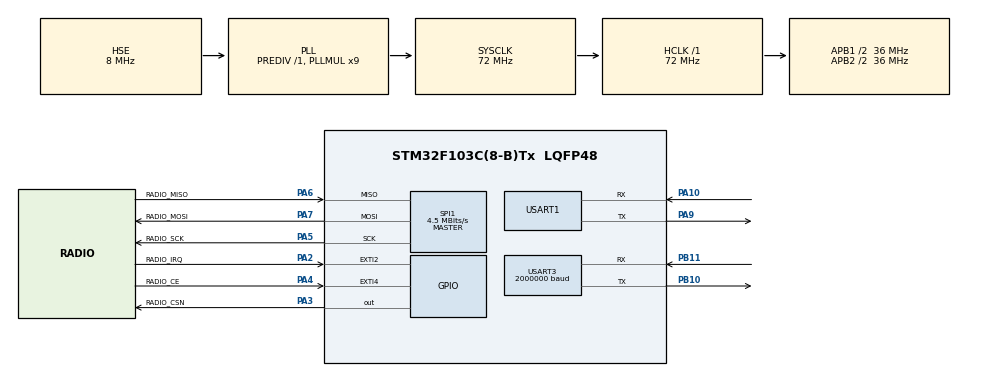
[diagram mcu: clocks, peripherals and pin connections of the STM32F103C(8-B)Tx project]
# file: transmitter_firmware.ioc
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Mcu.Family=STM32F1
Mcu.Name=STM32F103C(8-B)Tx
Mcu.Package=LQFP48
NVIC.PriorityGroup=NVIC_PRIORITYGROUP_4
PA10.Mode=Asynchronous
PA10.Signal=USART1_RX
PA2.GPIO_Label=RADIO_IRQ
PA2.Signal=GPXTI2
PA3.GPIO_Label=RADIO_CSN
PA3.Signal=GPIO_Output
PA4.GPIO_Label=RADIO_CE
PA4.Signal=GPXTI4
PA5.GPIO_Label=RADIO_SCK
PA5.Mode=Full_Duplex_Master
PA5.Signal=SPI1_SCK
PA6.GPIO_Label=RADIO_MISO
PA6.Mode=Full_Duplex_Master
PA6.Signal=SPI1_MISO
PA7.GPIO_Label=RADIO_MOSI
PA7.Mode=Full_Duplex_Master
PA7.Signal=SPI1_MOSI
PA9.Mode=Asynchronous
PA9.Signal=USART1_TX
PB10.Mode=Asynchronous
PB10.Signal=USART3_TX
PB11.Mode=Asynchronous
PB11.Signal=USART3_RX
PD0-OSC_IN.Mode=HSE-External-Oscillator
PD0-OSC_IN.Signal=RCC_OSC_IN
PD1-OSC_OUT.Mode=HSE-External-Oscillator
PD1-OSC_OUT.Signal=RCC_OSC_OUT
ProjectManager.HeapSize=0x200
ProjectManager.StackSize=0x400
ProjectManager.TargetToolchain=STM32CubeIDE
RCC.AHBFreq_Value=72000000
RCC.APB1CLKDivider=RCC_HCLK_DIV2
RCC.APB1Freq_Value=36000000
RCC.APB1TimFreq_Value=72000000
RCC.APB2CLKDivider=RCC_HCLK_DIV2
RCC.APB2Freq_Value=36000000
RCC.APB2TimFreq_Value=72000000
RCC.HCLKFreq_Value=72000000
RCC.PLLMUL=RCC_PLL_MUL9
RCC.PLLSourceVirtual=RCC_PLLSOURCE_HSE
RCC.SYSCLKFreq_VALUE=72000000
RCC.SYSCLKSource=RCC_SYSCLKSOURCE_PLLCLK
RCC.USBFreq_Value=48000000
RCC.USBPrescaler=RCC_USBCLKSOURCE_PLL_DIV1_5
SPI1.BaudRatePrescaler=SPI_BAUDRATEPRESCALER_8
SPI1.CalculateBaudRate=4.5 MBits/s
SPI1.Direction=SPI_DIRECTION_2LINES
SPI1.Mode=SPI_MODE_MASTER
SPI1.VirtualType=VM_MASTER
USART1.VirtualMode=VM_ASYNC
USART3.BaudRate=2000000
USART3.Parity=PARITY_NONE
USART3.StopBits=STOPBITS_1
USART3.VirtualMode=VM_ASYNC
USART3.WordLength=WORDLENGTH_8B
VP_SYS_VS_ND.Mode=No_Debug
board=custom

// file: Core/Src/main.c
/* USER CODE BEGIN Header */
/**
 ******************************************************************************
 * @file           : main.c
 * @brief          : Main program body
 ******************************************************************************
 * @attention
 *
 * Copyright (c) 2024 STMicroelectronics.
 * All rights reserved.
 *
 * This software is licensed under terms that can be found in the LICENSE file
 * in the root directory of this software component.
 * If no LICENSE file comes with this software, it is provided AS-IS.
 *
 ******************************************************************************
 */
/* USER CODE END Header */
#include "main.h"
#include "spi.h"
#include "usart.h"
#include "gpio.h"

/* USER CODE BEGIN Includes */
#include <stdlib.h>
#include <stdio.h>

//#include <string.h>

#include "rf24.h"
#include "linked_list.h"

/* USER CODE END Includes */

/* USER CODE BEGIN PD */
#define SERIAL_UART huart3

#define PAYLOAD_SIZE 14

/* USER CODE END PD */

void SystemClock_Config(void);
/* USER CODE BEGIN PFP */
int __io_putchar(int ch);

/* USER CODE END PFP */

/* USER CODE BEGIN 0 */

uint8_t robot_address[5] = { 0xB9, 0xB7, 0xE7, 0xE9, 0xC2 };
uint8_t my_address[5] = { 0xB9, 0xB7, 0xE7, 0xE9, 0xC3 };

rf24_dev_t device; /* Module instance */
rf24_dev_t *p_dev = &device; /* Pointer to module instance */

uint8_t rx_buffer[100];

uint8_t robot_count = 0;

/* USER CODE END 0 */

int main(void)
{

  /* MCU Configuration--------------------------------------------------------*/

  /* Reset of all peripherals, Initializes the Flash interface and the Systick. */
  HAL_Init();

  /* Configure the system clock */
  SystemClock_Config();

  /* Initialize all configured peripherals */
  MX_GPIO_Init();
  MX_USART3_UART_Init();
  MX_SPI1_Init();
  MX_USART1_UART_Init();
  /* USER CODE BEGIN 2 */

	p_dev->platform_setup.spi_timeout = 1000U;
	p_dev->payload_size = PAYLOAD_SIZE;
	p_dev->addr_width = 5U;
	p_dev->datarate = RF24_250KBPS;
	p_dev->channel = 11U;

	for (uint8_t i = 0; i < RF24_ADDRESS_MAX_SIZE; i++) {
		p_dev->pipe0_reading_address[i] = 0;
	}

	p_dev->platform_setup.hspi = &hspi1;

	p_dev->platform_setup.csn_port = RADIO_CSN_GPIO_Port;
	p_dev->platform_setup.csn_pin = RADIO_CSN_Pin;

	p_dev->platform_setup.irq_port = RADIO_IRQ_GPIO_Port;
	p_dev->platform_setup.irq_pin = RADIO_IRQ_Pin;

	p_dev->platform_setup.ce_port = RADIO_CE_GPIO_Port;
	p_dev->platform_setup.ce_pin = RADIO_CE_Pin;

	rf24_init(p_dev);

	rf24_set_output_power(p_dev, RF24_18_dBm);

	rf24_open_writing_pipe(p_dev, robot_address);
	rf24_open_reading_pipe(p_dev, 1, robot_address);

	printf("Waiting for robot count...\r\n");

	while (robot_count == 0) {
		HAL_UART_Receive(&SERIAL_UART, &robot_count, 1, 100);
	}

	/*
	uint32_t elapsed_time = 0;
	uint32_t last_time = 0;
	uint32_t current_time = 0;
	 * */

	uint8_t message_size = robot_count * PAYLOAD_SIZE;

	uint8_t **robots = (uint8_t**) malloc(robot_count * sizeof(uint8_t*));
	for (int i = 0; i < robot_count; i++) {
		robots[i] = (uint8_t*) malloc(PAYLOAD_SIZE * sizeof(uint8_t));
		for (int j = 0; j < PAYLOAD_SIZE; j++) {
			robots[i][j] = 0;
		}
	}

	char *ready_message = "R";

	HAL_StatusTypeDef read_status;

	printf("Starting loop\r\n");

  /* USER CODE END 2 */

  /* Infinite loop */
	while (1) {

    /* USER CODE BEGIN 3 */

		HAL_UART_Transmit(&SERIAL_UART, (uint8_t*) ready_message, 1, 10);

		if ((read_status = HAL_UART_Receive(&SERIAL_UART, rx_buffer,
				message_size, 100)) == HAL_OK) {

			if (robot_count == 1) {

				for (int i = 0; i < PAYLOAD_SIZE; i++) {
					robots[0][i] = rx_buffer[i];
				}
				rf24_write(p_dev, robots[0], PAYLOAD_SIZE,
				false);

			} else if (robot_count == 2) {
				for (int i = 0; i < PAYLOAD_SIZE; i++) {
					robots[0][i] = rx_buffer[i];
					robots[1][i] = rx_buffer[i + PAYLOAD_SIZE];
				}
				rf24_write(p_dev, robots[0], PAYLOAD_SIZE,
				false);
				rf24_write(p_dev, robots[1], PAYLOAD_SIZE,
				false);

			} else if (robot_count == 3) {
				for (int i = 0; i < PAYLOAD_SIZE; i++) {
					robots[0][i] = rx_buffer[i];
					robots[1][i] = rx_buffer[i + PAYLOAD_SIZE];
					robots[2][i] = rx_buffer[i + 2*PAYLOAD_SIZE];
				}
				rf24_write(p_dev, robots[0], PAYLOAD_SIZE,
				false);
				rf24_write(p_dev, robots[1], PAYLOAD_SIZE,
				false);
				rf24_write(p_dev, robots[2], PAYLOAD_SIZE,
				false);
			}

		} else {
			//printf("uart error: %d\r\n", read_status);
		}
		/*
		current_time = HAL_GetTick();
		elapsed_time = current_time - last_time;
		last_time = current_time;
		printf("%lu ms\r\n", elapsed_time);
		 * */
	}
  /* USER CODE END 3 */
}

void SystemClock_Config(void)
{
  RCC_OscInitTypeDef RCC_OscInitStruct = {0};
  RCC_ClkInitTypeDef RCC_ClkInitStruct = {0};

  /** Initializes the RCC Oscillators according to the specified parameters
  * in the RCC_OscInitTypeDef structure.
  */
  RCC_OscInitStruct.OscillatorType = RCC_OSCILLATORTYPE_HSE;
  RCC_OscInitStruct.HSEState = RCC_HSE_ON;
  RCC_OscInitStruct.HSEPredivValue = RCC_HSE_PREDIV_DIV1;
  RCC_OscInitStruct.HSIState = RCC_HSI_ON;
  RCC_OscInitStruct.PLL.PLLState = RCC_PLL_ON;
  RCC_OscInitStruct.PLL.PLLSource = RCC_PLLSOURCE_HSE;
  RCC_OscInitStruct.PLL.PLLMUL = RCC_PLL_MUL9;
  if (HAL_RCC_OscConfig(&RCC_OscInitStruct) != HAL_OK)
  {
    Error_Handler();
  }

  /** Initializes the CPU, AHB and APB buses clocks
  */
  RCC_ClkInitStruct.ClockType = RCC_CLOCKTYPE_HCLK|RCC_CLOCKTYPE_SYSCLK
                              |RCC_CLOCKTYPE_PCLK1|RCC_CLOCKTYPE_PCLK2;
  RCC_ClkInitStruct.SYSCLKSource = RCC_SYSCLKSOURCE_PLLCLK;
  RCC_ClkInitStruct.AHBCLKDivider = RCC_SYSCLK_DIV1;
  RCC_ClkInitStruct.APB1CLKDivider = RCC_HCLK_DIV2;
  RCC_ClkInitStruct.APB2CLKDivider = RCC_HCLK_DIV2;

  if (HAL_RCC_ClockConfig(&RCC_ClkInitStruct, FLASH_LATENCY_2) != HAL_OK)
  {
    Error_Handler();
  }
}

/* USER CODE BEGIN 4 */

int __io_putchar(int ch) {
	HAL_UART_Transmit(&huart1, (uint8_t*) &ch, 1, HAL_MAX_DELAY);
	return (ch);
}

/* USER CODE END 4 */

void Error_Handler(void)
{
  /* USER CODE BEGIN Error_Handler_Debug */
	/* User can add his own implementation to report the HAL error return state */
	__disable_irq();
	while (1) {
		printf("Error");
	}
  /* USER CODE END Error_Handler_Debug */
}
